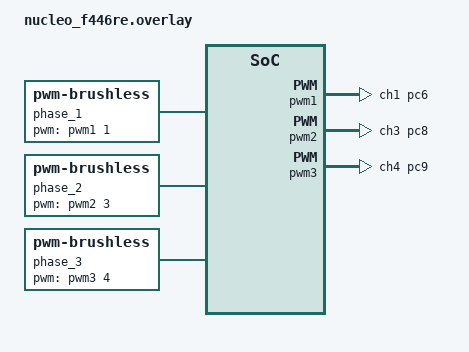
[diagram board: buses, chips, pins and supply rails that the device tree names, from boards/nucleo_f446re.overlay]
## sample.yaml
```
sample:
  name: Brushless Motor using PWM
```

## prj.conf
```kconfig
CONFIG_GPIO=y
CONFIG_CBPRINTF_FP_SUPPORT=y
CONFIG_NEWLIB_LIBC=y

CONFIG_SYS_CLOCK_TICKS_PER_SEC=10000000

CONFIG_PWM=y
CONFIG_PRINTK=y
CONFIG_STDOUT_CONSOLE=y
```

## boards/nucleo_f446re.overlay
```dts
/ {
     phase_1: spwm1 {
          compatible = "pwm-brushless";
          pwms = <&pwm1 1 PWM_USEC(99) PWM_POLARITY_NORMAL>;
          min-pulse = <PWM_USEC(0)>;
          max-pulse = <PWM_USEC(95)>;
     };

     phase_2: spwm2 {
          compatible = "pwm-brushless";
          pwms = <&pwm2 3 PWM_USEC(99) PWM_POLARITY_NORMAL>;
          min-pulse = <PWM_USEC(0)>;
          max-pulse = <PWM_USEC(95)>;
     };

     phase_3: spwm3 {
          compatible = "pwm-brushless";
          pwms = <&pwm3 4 PWM_USEC(99) PWM_POLARITY_NORMAL>;
          min-pulse = <PWM_USEC(0)>;
          max-pulse = <PWM_USEC(95)>;
     };
};

&timers3{
     pwm1: pwm {
          status = "okay";
          pinctrl-0 = <&tim3_ch1_pc6>;
          pinctrl-names = "default";
     };

     pwm2: pwm {
          status = "okay";
          pinctrl-0 = <&tim3_ch3_pc8>;
          pinctrl-names = "default";
     };

     pwm3: pwm {
          status = "okay";
          pinctrl-0 = <&tim3_ch4_pc9>;
          pinctrl-names = "default";
     };
};
```

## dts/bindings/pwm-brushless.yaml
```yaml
# Copyright (c) 2022 Nordic Semiconductor ASA
# SPDX-License-Identifier: Apache-2.0

description: PWM-driven brushless motor.

compatible: "pwm-brushless"

include: base.yaml

properties:
  pwms:
    required: true
    type: phandle-array
    description: PWM specifier driving the brushless motor.

  min-pulse:
    required: true
    type: int
    description: Minimum pulse width (nanoseconds).

  max-pulse:
    required: true
    type: int
    description: Maximum pulse width (nanoseconds).
```

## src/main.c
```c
#include <stdio.h>
#include <stdlib.h>
#include <stdbool.h>
#include <math.h>
#include <stdint.h>
#include <inttypes.h>

#include <zephyr/kernel.h>
#include <zephyr/drivers/gpio.h>
#include <zephyr/drivers/i2c.h>
#include <zephyr/sys/printk.h>
#include <zephyr/device.h>
#include <zephyr/drivers/pwm.h>
#include <zephyr/timing/timing.h>

#define PI 3.14159265358979

double sin_table[1257];

static const struct pwm_dt_spec phase_1 = PWM_DT_SPEC_GET(DT_NODELABEL(phase_1));
static const struct pwm_dt_spec phase_2 = PWM_DT_SPEC_GET(DT_NODELABEL(phase_2));
static const struct pwm_dt_spec phase_3 = PWM_DT_SPEC_GET(DT_NODELABEL(phase_3));

static const uint32_t min_pulse = PWM_USEC(0);
static const uint32_t max_pulse = PWM_USEC(95);
static const uint32_t midpoint = PWM_USEC(50);

uint64_t start_time, end_time, total_ns;

double dt = 0;
float sine_freq = 100;
uint64_t pwm_freq = 10000;
uint64_t counter = 0;

void spin(){
	end_time = k_uptime_ticks();

    double dt = (end_time - start_time) / 10000000.;

	start_time = end_time;

	double scale = sine_freq / (double) pwm_freq * 2 * PI;
	float angle = scale * counter;

	if(counter % (uint64_t) (pwm_freq / sine_freq) == 0){
		counter = 0;
	}

	int index1 = round( ( 100 * angle ) );
	int index2 = round( ( 100 * ( angle + 2 * PI / 3. ) ) );
	int index3 = round( ( 100 * ( angle + 4 * PI / 3. ) ) );

	uint32_t pulse_width_1 = ( sin_table[index1] ) * (double) ( max_pulse - midpoint ) + midpoint;
	uint32_t pulse_width_2 = ( sin_table[index2] ) * (double) ( max_pulse - midpoint ) + midpoint;
	uint32_t pulse_width_3 = ( sin_table[index3] ) * (double) ( max_pulse - midpoint ) + midpoint;

	if(counter == 0){
		//printf("Frequency: %" PRIu64 " Hz \n", pwm_freq);
		printf("PWM Frequency: %lf; %" PRIu32 "; %" PRIu32 "; %" PRIu32 "\n", 1. / dt, pulse_width_1, pulse_width_2, pulse_width_3);
	}

	int ret = pwm_set_pulse_dt(&phase_1, PWM_NSEC(pulse_width_1));
	if (ret < 0) {
		printk("Error %d: failed to set pulse width for phase 1\n", ret);
	}

	ret = pwm_set_pulse_dt(&phase_2, PWM_NSEC(pulse_width_2));
	if (ret < 0) {
		printk("Error %d: failed to set pulse width for phase 2\n", ret);
	}

	ret = pwm_set_pulse_dt(&phase_3, PWM_NSEC(pulse_width_3));
	if (ret < 0) {
		printk("Error %d: failed to set pulse width for phase 3\n", ret);
	}

	counter++;
}

void my_work_handler(struct k_work *work)
{
    spin();
}

K_WORK_DEFINE(my_work, my_work_handler);

void my_timer_handler(struct k_timer *dummy)
{
    k_work_submit(&my_work);
}


K_TIMER_DEFINE(my_timer, my_timer_handler, NULL);

int main(){

	for(int i = 0 ; i < 1257 ; i++){
		sin_table[i] = sin( (double) 0.01 * i ) ;
	}

    start_time = k_uptime_ticks();

	/* start periodic timer that expires once every second */
	k_timer_start(&my_timer, K_USEC(1000000 / pwm_freq), K_USEC(1000000 / pwm_freq));

	return 0;
}
```
